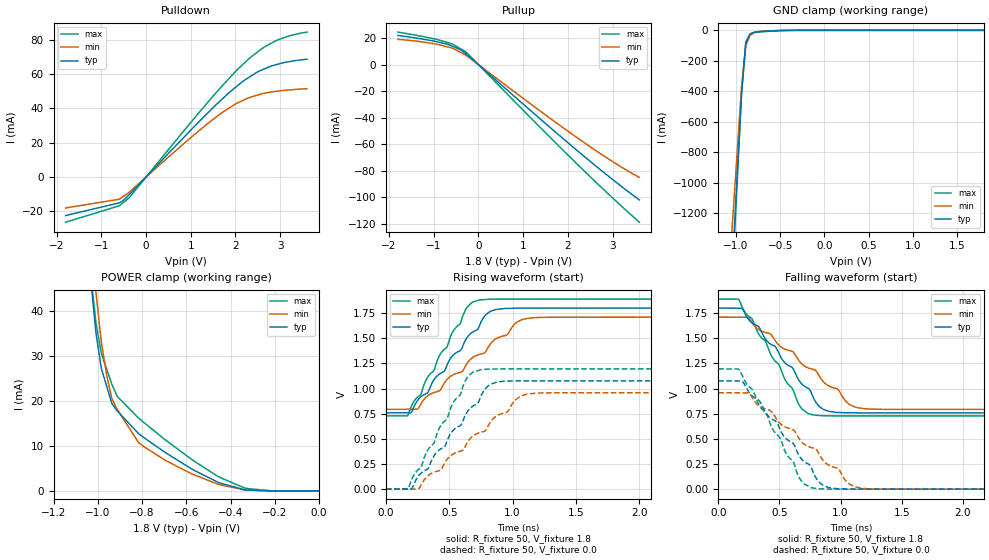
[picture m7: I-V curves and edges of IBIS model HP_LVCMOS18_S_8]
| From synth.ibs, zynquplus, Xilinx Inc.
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[Model] HP_LVCMOS18_S_8
Model_type I/O
Polarity   Non-Inverting
Enable   Active-Low
Vinl =   0.6300V
Vinh =   1.1700V
Vmeas =  0.9000V
Cref =   0.0000F
Rref =   1.0000M
Vref =   0.0000V
C_comp   2.69373293702p   2.69341016229p   2.69529909352p
C_comp_pullup   808.119881107f   808.023048688f   808.589728055f
C_comp_pulldown   1.88561305592p   1.8853871136p   1.88670936546p
[Temperature Range]   25.0000   100.0000   0.0
[Voltage Range]   1.8000V   1.7100V   1.8900V
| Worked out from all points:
|   slope of the pulldown table from 0 to 0.27 V, typ, clamps not added: 36.2 ohm
|   slope of the pullup table from 0 to 0.27 V, typ, clamps not added: 33.5 ohm
|   GND clamp passes 1 mA (typ) near -0.48 V on its own axis
|   POWER clamp passes 1 mA (typ) near -0.39 V on its own axis
|   rising waveform, R_fixture 50, V_fixture 1.8: 20-80 % time 392ps typ, 519ps min, 309ps max; typ from 0.759 V to 1.8 V
|   rising waveform, R_fixture 50, V_fixture 0.0: 20-80 % time 391ps typ, 525ps min, 308ps max; typ from 0 V to 1.08 V
|   falling waveform, R_fixture 50, V_fixture 1.8: 20-80 % time 415ps typ, 550ps min, 332ps max; typ from 1.8 V to 0.759 V
|   falling waveform, R_fixture 50, V_fixture 0.0: 20-80 % time 415ps typ, 550ps min, 331ps max; typ from 1.08 V to 0 V
[Pulldown]
|Voltage   I(typ)   I(min)   I(max)
-1.8V     -22.42mA   -18mA      -26.3mA
-600mV    -15.04mA   -12.93mA   -16.73mA
-480mV    -12.94mA   -10.8mA    -14.22mA
-360mV    -9.774mA   -8.419mA   -11.53mA
780mV     21.4mA     18.03mA    24.87mA
1.38V     37.35mA    31.22mA    43.54mA
1.98V     51.84mA    42.27mA    60.94mA
2.28V     57.74mA    46.03mA    68.45mA
2.64V     62.93mA    48.81mA    75.7mA
2.94V     65.7mA     50.07mA    79.87mA
3.24V     67.42mA    50.84mA    82.55mA
3.6V      68.66mA    51.46mA    84.46mA
[Pullup]
|Voltage   I(typ)   I(min)   I(max)
-1.8V     21.99mA    18.99mA    24.5mA
-1.2V     18.93mA    16.83mA    20.9mA
-720mV    15.57mA    13.63mA    16.93mA
-600mV    14.09mA    12.59mA    15.74mA
-420mV    11.62mA    9.609mA    12.38mA
-300mV    8.629mA    7.461mA    10.06mA
1.26V     -37.36mA   -31.96mA   -43.21mA
2.16V     -63.37mA   -53.96mA   -73.39mA
2.94V     -84.96mA   -71.77mA   -98.59mA
3.6V      -102mA     -85.04mA   -118.8mA
[GND_clamp]
|Voltage   I(typ)   I(min)   I(max)
-1.8V     -9.812A    -7.871A    -10.69A
-1.08V    -1.976A    -1.617A    -2.115A
-1.032V   -1.454A    -1.2A      -1.545A
-984mV    -933.7mA   -784.5mA   -975.9mA
-936mV    -414.2mA   -368.9mA   -408.7mA
-888mV    -85.1mA    -101.1mA   -75.37mA
-840mV    -23.78mA   -32.36mA   -24.02mA
-792mV    -12.17mA   -14.48mA   -14.81mA
-744mV    -8.706mA   -8.441mA   -11.52mA
-456mV    -716.8uA   -706.2uA   -1.236mA
1.8V      4.55nA     280.1nA    4.678nA
[Power_clamp]
|Voltage   I(typ)   I(min)   I(max)
-1.8V     2.015A     1.979A     2.041A
-1.032V   46.94mA    59.82mA    48.06mA
-1.008V   34.93mA    43.92mA    37.14mA
-984mV    27.15mA    33.02mA    30.47mA
-960mV    23.25mA    25.7mA     27.02mA
-936mV    19.35mA    20.39mA    23.58mA
-912mV    17.72mA    18.07mA    20.95mA
-816mV    12.71mA    10.74mA    16.16mA
-576mV    4.888mA    3.807mA    6.984mA
-456mV    1.889mA    1.464mA    3.187mA
-336mV    241.9uA    225.6uA    632.7uA
0V        30.27nA    15.03nA    8.879nA
[Ramp]
|variable   typ   min   max
dV/dt_r   0.6465/0.3911n   0.5755/0.5253n   0.7178/0.3079n
dV/dt_f   0.6250/0.4151n   0.5501/0.5499n   0.6972/0.3317n
R_load=50
[Rising Waveform]
R_fixture=50
V_fixture=1.8
V_fixture_min=1.71
V_fixture_max=1.89
|time   V(typ)   V(min)   V(max)
0s        758.5mV    793.2mV    728.2mV
172.5ps   758.5mV    793.2mV    732.5mV
252.5ps   885.6mV    798.9mV    917.9mV
327.5ps   954.9mV    925.4mV    1.109V
627.5ps   1.481V     1.224V     1.781V
695ps     1.569V     1.317V     1.865V
782.5ps   1.725V     1.358V     1.886V
830ps     1.771V     1.453V     1.889V
1.115ns   1.8V       1.698V     1.89V
3ns       1.8V       1.71V      1.89V
[Rising Waveform]
R_fixture=50
V_fixture=0.0
0s        0V         1.717uV    0V
175ps     -8.288uV   0V         3.938mV
260ps     135.4mV    4.781mV    197.4mV
335ps     206.2mV    135.8mV    397.8mV
435ps     401.2mV    193.4mV    635.1mV
637.5ps   759.3mV    452.5mV    1.101V
750ps     925.7mV    565.5mV    1.188V
867.5ps   1.062V     722.5mV    1.195V
1.123ns   1.077V     946.5mV    1.195V
3ns       1.077V     958.3mV    1.195V
[Falling Waveform]
R_fixture=50
V_fixture=1.8
V_fixture_min=1.71
V_fixture_max=1.89
|time   V(typ)   V(min)   V(max)
0s        1.8V       1.71V      1.89V
170ps     1.8V       1.71V      1.883V
422.5ps   1.447V     1.547V     1.359V
507.5ps   1.322V     1.419V     1.208V
610ps     1.202V     1.367V     990.9mV
662.5ps   1.077V     1.273V     834.7mV
735ps     1.004V     1.206V     751mV
857.5ps   794.4mV    1.07V      730.1mV
1.145ns   758.6mV    808.4mV    728.2mV
3ns       758.5mV    793.2mV    728.2mV
[Falling Waveform]
R_fixture=50
V_fixture=0.0
0s        1.077V     958.3mV    1.195V
170ps     1.077V     958.3mV    1.189V
247.5ps   971mV      952.6mV    1.024V
510ps     581.5mV    648.1mV    498.5mV
615ps     450.9mV    588.2mV    268.3mV
667.5ps   320.8mV    490.5mV    104.5mV
760ps     218.2mV    413.7mV    14.32mV
862.5ps   34.44mV    278.4mV    1.902mV
1.163ns   90.15uV    11.11mV    0V
3ns       0V         1.723uV    0V
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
